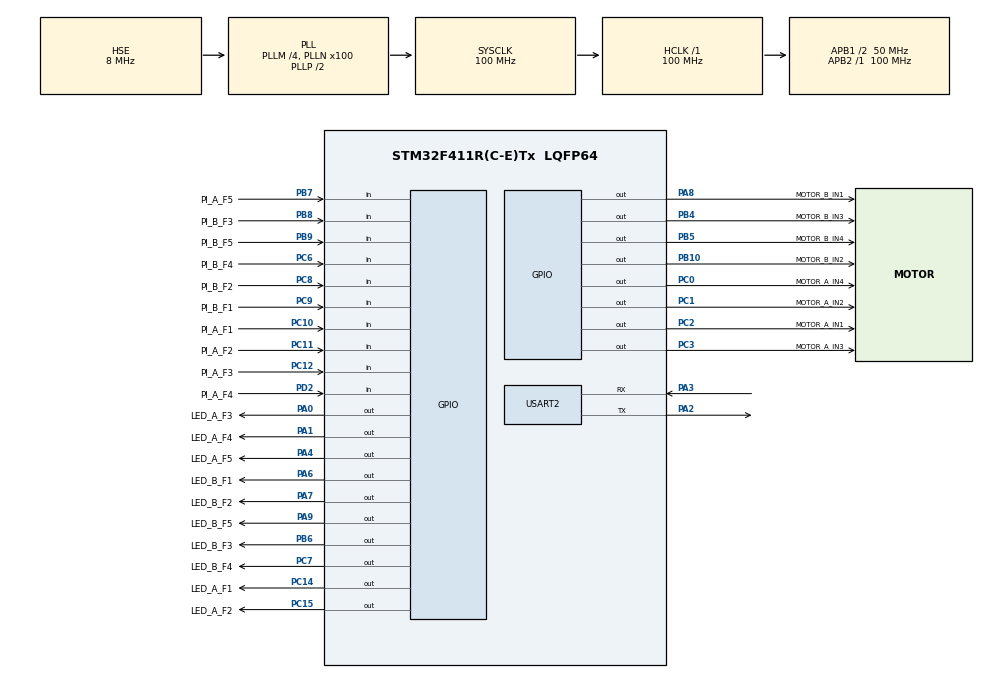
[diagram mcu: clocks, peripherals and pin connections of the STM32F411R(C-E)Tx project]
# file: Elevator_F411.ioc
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Mcu.Family=STM32F4
Mcu.Name=STM32F411R(C-E)Tx
Mcu.Package=LQFP64
NVIC.PriorityGroup=NVIC_PRIORITYGROUP_4
PA0-WKUP.GPIO_Label=LED_A_F3
PA0-WKUP.Signal=GPIO_Output
PA1.GPIO_Label=LED_A_F4
PA1.Signal=GPIO_Output
PA13.Mode=Serial_Wire
PA13.Signal=SYS_JTMS-SWDIO
PA14.Mode=Serial_Wire
PA14.Signal=SYS_JTCK-SWCLK
PA2.Mode=Asynchronous
PA2.Signal=USART2_TX
PA3.Mode=Asynchronous
PA3.Signal=USART2_RX
PA4.GPIO_Label=LED_A_F5
PA4.Signal=GPIO_Output
PA6.GPIO_Label=LED_B_F1
PA6.Signal=GPIO_Output
PA7.GPIO_Label=LED_B_F2 
PA7.Signal=GPIO_Output
PA8.GPIO_Label=MOTOR_B_IN1
PA8.Signal=GPIO_Output
PA9.GPIO_Label=LED_B_F5
PA9.Signal=GPIO_Output
PB10.GPIO_Label=MOTOR_B_IN2
PB10.Signal=GPIO_Output
PB4.GPIO_Label=MOTOR_B_IN3
PB4.Signal=GPIO_Output
PB5.GPIO_Label=MOTOR_B_IN4
PB5.Signal=GPIO_Output
PB6.GPIO_Label=LED_B_F3
PB6.Signal=GPIO_Output
PB7.GPIO_Label=PI_A_F5
PB7.GPIO_PuPd=GPIO_PULLDOWN
PB7.Signal=GPIO_Input
PB8.GPIO_Label=PI_B_F3
PB8.GPIO_PuPd=GPIO_PULLDOWN
PB8.Signal=GPIO_Input
PB9.GPIO_Label=PI_B_F5
PB9.GPIO_PuPd=GPIO_PULLDOWN
PB9.Signal=GPIO_Input
PC0.GPIO_Label=MOTOR_A_IN4
PC0.Signal=GPIO_Output
PC1.GPIO_Label=MOTOR_A_IN2
PC1.Signal=GPIO_Output
PC10.GPIO_Label=PI_A_F1
PC10.GPIO_PuPd=GPIO_PULLDOWN
PC10.Signal=GPIO_Input
PC11.GPIO_Label=PI_A_F2
PC11.GPIO_PuPd=GPIO_PULLDOWN
PC11.Signal=GPIO_Input
PC12.GPIO_Label=PI_A_F3
PC12.GPIO_PuPd=GPIO_PULLDOWN
PC12.Signal=GPIO_Input
PC14-OSC32_IN.GPIO_Label=LED_A_F1
PC14-OSC32_IN.Signal=GPIO_Output
PC15-OSC32_OUT.GPIO_Label=LED_A_F2
PC15-OSC32_OUT.Signal=GPIO_Output
PC2.GPIO_Label=MOTOR_A_IN1
PC2.Signal=GPIO_Output
PC3.GPIO_Label=MOTOR_A_IN3
PC3.Signal=GPIO_Output
PC6.GPIO_Label=PI_B_F4
PC6.GPIO_PuPd=GPIO_PULLDOWN
PC6.Signal=GPIO_Input
PC7.GPIO_Label=LED_B_F4
PC7.Signal=GPIO_Output
PC8.GPIO_Label=PI_B_F2
PC8.GPIO_PuPd=GPIO_PULLDOWN
PC8.Signal=GPIO_Input
PC9.GPIO_Label=PI_B_F1
PC9.GPIO_PuPd=GPIO_PULLDOWN
PC9.Signal=GPIO_Input
PD2.GPIO_Label=PI_A_F4
PD2.GPIO_PuPd=GPIO_PULLDOWN
PD2.Signal=GPIO_Input
PH0\ -\ OSC_IN.Mode=HSE-External-Clock-Source
PH0\ -\ OSC_IN.Signal=RCC_OSC_IN
PH1\ -\ OSC_OUT.Mode=HSE-External-Clock-Source
PH1\ -\ OSC_OUT.Signal=RCC_OSC_OUT
ProjectManager.HeapSize=0x200
ProjectManager.StackSize=0x400
ProjectManager.TargetToolchain=CMake
RCC.48MHZClocksFreq_Value=50000000
RCC.AHBFreq_Value=100000000
RCC.APB1CLKDivider=RCC_HCLK_DIV2
RCC.APB1Freq_Value=50000000
RCC.APB1TimFreq_Value=100000000
RCC.APB2Freq_Value=100000000
RCC.APB2TimFreq_Value=100000000
RCC.CortexFreq_Value=100000000
RCC.HCLKFreq_Value=100000000
RCC.HSE_VALUE=8000000
RCC.HSI_VALUE=16000000
RCC.LSE_VALUE=32768
RCC.PLLM=4
RCC.PLLN=100
RCC.PLLSourceVirtual=RCC_PLLSOURCE_HSE
RCC.SYSCLKFreq_VALUE=100000000
RCC.SYSCLKSource=RCC_SYSCLKSOURCE_PLLCLK
RCC.VCOOutputFreq_Value=200000000
USART2.VirtualMode=VM_ASYNC
board=custom

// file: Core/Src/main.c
/* USER CODE BEGIN Header */
/**
  ******************************************************************************
  * @file           : main.c
  * @brief          : Main program body
  ******************************************************************************
  * @attention
  *
  * Copyright (c) 2026 STMicroelectronics.
  * All rights reserved.
  *
  * This software is licensed under terms that can be found in the LICENSE file
  * in the root directory of this software component.
  * If no LICENSE file comes with this software, it is provided AS-IS.
  *
  ******************************************************************************
  */
/* USER CODE END Header */
#include "main.h"
#include "usart.h"
#include "gpio.h"

/* USER CODE BEGIN Includes */
#include "algorithm_a.h"
#include "algorithm_b.h"
#include "algorithm_c.h"
#include "algorithm_d.h"
#include <stdio.h>
#include <string.h>

#include "elevator_floor_sensor.h"
#include "elevator_led.h"
#include "elevator_motor.h"

/* USER CODE END Includes */

/* USER CODE BEGIN PD */
/* UART command line length, including the final null terminator. */
#define UART_COMMAND_BUFFER_SIZE  64U

/* Small helper for static scenario arrays. The project arrays are all below 255 items. */
#define ARRAY_COUNT(array)        ((uint8_t)(sizeof(array) / sizeof((array)[0])))

/* Temporary sensor-based auto-run values.
 * Max steps are only a safety limit; normal stopping is done by photo interrupters.
 */
#define SENSOR_RUN_MAX_STEPS_PER_FLOOR  25000U
#define SENSOR_HOME_MAX_STEPS_TO_F1     30000U
#define SENSOR_RUN_STEP_DELAY_US        1000U
#define SENSOR_RUN_STOP_DWELL_MS        1000U
#define SENSOR_ROUND_TRIP_DWELL_MS      10000U
#define SENSOR_ROUND_TRIP_MAX_STEPS     (SENSOR_RUN_MAX_STEPS_PER_FLOOR * 5U)
#define MOTOR_AB_TRAVEL_TEST_STEPS      61440U
#define AUTO_AB_B_START_DELAY_MS        30000U
#define MOTOR_B_F5_CLEAR_STEPS          10000U

/* USER CODE END PD */

/* USER CODE BEGIN PV */
/* Shared UART buffers used for command input and formatted status output. */
static char uart_tx_buffer[160];
static char uart_rx_buffer[UART_COMMAND_BUFFER_SIZE];
static uint8_t uart_rx_index = 0U;

/* Scenario selection changed by "set ab" and "set cd" UART commands. */
static uint8_t selected_ab_scenario = 1U;
static uint8_t selected_cd_scenario = 1U;

/* USER CODE END PV */

void SystemClock_Config(void);

/* USER CODE BEGIN 0 */
/* Send a null-terminated string over USART2. */
static void UartPrint(const char *message)
{
  (void)HAL_UART_Transmit(&huart2, (uint8_t *)message, (uint16_t)strlen(message), 100U);
}

/* Initial car positions for AB comparison.
 * A starts idle on 1F, and B starts idle on 4F.
 */
static const ElevatorState AbInitialElevators[ELEVATOR_CAR_COUNT] =
{
  { ELEVATOR_CAR_A, 1U, ELEVATOR_DIR_IDLE, 0U, { 0U } },
  { ELEVATOR_CAR_B, 4U, ELEVATOR_DIR_IDLE, 0U, { 0U } }
};

/* AB scenario 1 compares fixed odd/even zones against fixed low/high zones. */
static const ElevatorRequest AbScenario1[] =
{
  { 1U, ELEVATOR_DIR_UP, 3U, ELEVATOR_CAR_A },
  { 3U, ELEVATOR_DIR_UP, 5U, ELEVATOR_CAR_NONE },
  { 3U, ELEVATOR_DIR_DOWN, 1U, ELEVATOR_CAR_NONE }
};

/* Initial car positions for CD scenario 1.
 * A is already moving upward and has 3F and 5F reserved.
 * B is idle on 5F with no reserved stops.
 */
static const ElevatorState CdInitialElevators[ELEVATOR_CAR_COUNT] =
{
  { ELEVATOR_CAR_A, 2U, ELEVATOR_DIR_UP, 2U, { 3U, 5U } },
  { ELEVATOR_CAR_B, 5U, ELEVATOR_DIR_IDLE, 0U, { 0U } }
};

/* Initial car positions for CD scenario 2.
 * This setup is meant to show a case where algorithm D can prefer B because
 * A has several reserved stops and therefore a worse ETA.
 */
static const ElevatorState Cd2InitialElevators[ELEVATOR_CAR_COUNT] =
{
  { ELEVATOR_CAR_A, 1U, ELEVATOR_DIR_UP, 3U, { 2U, 3U, 5U } },
  { ELEVATOR_CAR_B, 5U, ELEVATOR_DIR_IDLE, 0U, { 0U } }
};

/* CD scenario 1: compare direction-priority dispatch with ETA dispatch. */
static const ElevatorRequest CdScenario1[] =
{
  { 4U, ELEVATOR_DIR_UP, 5U, ELEVATOR_CAR_NONE },
  { 1U, ELEVATOR_DIR_UP, 3U, ELEVATOR_CAR_NONE }
};

/* CD scenario 2: one 4F UP request used to make C and D choose differently. */
static const ElevatorRequest CdScenario2[] =
{
  { 4U, ELEVATOR_DIR_UP, 5U, ELEVATOR_CAR_NONE }
};

/* ETA timing used by algorithm D: 5 seconds per floor and 30 seconds dwell. */
static const ElevatorTiming CdTiming1 =
{
  5U,
  30U
};

/* Convert car enum values into short strings for UART output. */
static const char *CarName(ElevatorCarId car)
{
  if (car == ELEVATOR_CAR_A)
  {
    return "A";
  }

  if (car == ELEVATOR_CAR_B)
  {
    return "B";
  }

  return "NONE";
}

/* Convert direction enum values into short strings for UART output. */
static const char *DirectionName(ElevatorDirection direction)
{
  if (direction == ELEVATOR_DIR_UP)
  {
    return "UP";
  }

  if (direction == ELEVATOR_DIR_DOWN)
  {
    return "DOWN";
  }

  return "IDLE";
}

/* Copy a scenario's initial elevator state before running an algorithm.
 * This keeps repeated UART runs from modifying the original scenario data.
 */
static void CopyElevators(ElevatorState destination[ELEVATOR_CAR_COUNT],
                          const ElevatorState source[ELEVATOR_CAR_COUNT])
{
  uint8_t index;

  for (index = 0U; index < ELEVATOR_CAR_COUNT; index++)
  {
    destination[index] = source[index];
  }
}

/* Print every supported UART command. */
static void PrintHelp(void)
{
  UartPrint("\r\nCommands:\r\n");
  UartPrint("  run ab a  - run selected AB scenario with algorithm A\r\n");
  UartPrint("  run ab b  - run selected AB scenario with algorithm B\r\n");
  UartPrint("  run cd c  - run selected CD scenario with algorithm C\r\n");
  UartPrint("  run cd d  - run selected CD scenario with algorithm D\r\n");
  UartPrint("  set ab 1  - select AB scenario 1\r\n");
  UartPrint("  set cd 1  - select CD scenario 1\r\n");
  UartPrint("  set cd 2  - select CD scenario 2\r\n");
  UartPrint("  status    - print selected scenarios and floor sensors\r\n");
  UartPrint("  help      - print this command list\r\n\r\n");
}

/* Read photo interrupters and show the currently detected floor with LEDs.
 * A car LED is turned on only when exactly one floor sensor is active.
 */
static void UpdateFloorArrivalLeds(void)
{
  uint8_t floor_a = ElevatorFloorSensor_GetActiveFloor(ELEVATOR_CAR_A);
  uint8_t floor_b = ElevatorFloorSensor_GetActiveFloor(ELEVATOR_CAR_B);

  if (floor_a != 0U)
  {
    (void)ElevatorLed_ShowFloor(ELEVATOR_CAR_A, floor_a);
  }
  else
  {
    ElevatorLed_CarOff(ELEVATOR_CAR_A);
  }

  if (floor_b != 0U)
  {
    (void)ElevatorLed_ShowFloor(ELEVATOR_CAR_B, floor_b);
  }
  else
  {
    ElevatorLed_CarOff(ELEVATOR_CAR_B);
  }
}

/* Print raw sensor masks and decoded active floor for both cars. */
static void PrintFloorSensorState(void)
{
  uint16_t mask_a = ElevatorFloorSensor_ReadMask(ELEVATOR_CAR_A);
  uint16_t mask_b = ElevatorFloorSensor_ReadMask(ELEVATOR_CAR_B);
  uint16_t irq_mask_a = ElevatorFloorSensor_GetInterruptMask(ELEVATOR_CAR_A);
  uint16_t irq_mask_b = ElevatorFloorSensor_GetInterruptMask(ELEVATOR_CAR_B);
  uint32_t irq_count_a = ElevatorFloorSensor_GetInterruptCount(ELEVATOR_CAR_A);
  uint32_t irq_count_b = ElevatorFloorSensor_GetInterruptCount(ELEVATOR_CAR_B);
  uint8_t floor_a = ElevatorFloorSensor_GetActiveFloor(ELEVATOR_CAR_A);
  uint8_t floor_b = ElevatorFloorSensor_GetActiveFloor(ELEVATOR_CAR_B);

  (void)snprintf(uart_tx_buffer,
                 sizeof(uart_tx_buffer),
                 "PI A:F%u mask=0x%02X irq=0x%02X cnt=%lu B:F%u mask=0x%02X irq=0x%02X cnt=%lu\r\n",
                 (unsigned int)floor_a,
                 (unsigned int)mask_a,
                 (unsigned int)irq_mask_a,
                 (unsigned long)irq_count_a,
                 (unsigned int)floor_b,
                 (unsigned int)mask_b,
                 (unsigned int)irq_mask_b,
                 (unsigned long)irq_count_b);
  UartPrint(uart_tx_buffer);
}

/* Print the currently selected scenario numbers and live floor sensor state. */
static void PrintStatus(void)
{
  (void)snprintf(uart_tx_buffer,
                 sizeof(uart_tx_buffer),
                 "Selected scenarios: AB%u CD%u\r\n",
                 (unsigned int)selected_ab_scenario,
                 (unsigned int)selected_cd_scenario);
  UartPrint(uart_tx_buffer);
  PrintFloorSensorState();
}

/* Print one request assignment line after an algorithm finishes. */
static void PrintAssignmentLine(const char *group,
                                uint8_t scenario_number,
                                char algorithm,
                                uint8_t request_index,
                                const ElevatorRequest *request,
                                const ElevatorAssignment *assignment)
{
  (void)snprintf(uart_tx_buffer,
                 sizeof(uart_tx_buffer),
                 "%s%u alg %c req%u F%u->F%u %s reqCar=%s => %s %s %s\r\n",
                 group,
                 (unsigned int)scenario_number,
                 algorithm,
                 (unsigned int)(request_index + 1U),
                 (unsigned int)request->from_floor,
                 (unsigned int)request->target_floor,
                 DirectionName(request->direction),
                 CarName(request->requested_car),
                 assignment->accepted ? "OK" : "REJECT",
                 CarName(assignment->assigned_car),
                 assignment->reason);
  UartPrint(uart_tx_buffer);
}

/* Run the selected AB scenario with algorithm A or B.
 * This currently compares dispatch decisions over UART; motor movement is not
 * started from this function yet.
 */
static void RunAbScenario(char algorithm)
{
  ElevatorState elevators[ELEVATOR_CAR_COUNT];
  ElevatorAssignment assignments[ARRAY_COUNT(AbScenario1)];
  uint8_t index;

  if (selected_ab_scenario != 1U)
  {
    UartPrint("Only AB scenario 1 is available.\r\n");
    return;
  }

  CopyElevators(elevators, AbInitialElevators);

  if (algorithm == 'a')
  {
    ElevatorAlgorithmA_AssignBatch(elevators, AbScenario1, ARRAY_COUNT(AbScenario1), assignments);
  }
  else if (algorithm == 'b')
  {
    ElevatorAlgorithmB_AssignBatch(elevators, AbScenario1, ARRAY_COUNT(AbScenario1), assignments);
  }
  else
  {
    UartPrint("Use: run ab a or run ab b\r\n");
    return;
  }

  UartPrint("Running AB scenario...\r\n");

  for (index = 0U; index < ARRAY_COUNT(AbScenario1); index++)
  {
    PrintAssignmentLine("AB", selected_ab_scenario, algorithm, index, &AbScenario1[index], &assignments[index]);
  }
}

/* Run the selected CD scenario with algorithm C or D.
 * Scenario 1 and 2 share the same UART commands but have different initial
 * elevator states and request lists.
 */
static void RunCdScenario(char algorithm)
{
  ElevatorState elevators[ELEVATOR_CAR_COUNT];
  ElevatorAssignment assignments[ELEVATOR_MAX_STOPS];
  const ElevatorRequest *requests = CdScenario1;
  uint8_t request_count = ARRAY_COUNT(CdScenario1);
  uint8_t index;

  if (selected_cd_scenario == 1U)
  {
    CopyElevators(elevators, CdInitialElevators);
    requests = CdScenario1;
    request_count = ARRAY_COUNT(CdScenario1);
  }
  else if (selected_cd_scenario == 2U)
  {
    CopyElevators(elevators, Cd2InitialElevators);
    requests = CdScenario2;
    request_count = ARRAY_COUNT(CdScenario2);
  }
  else
  {
    UartPrint("Use: set cd 1 or set cd 2\r\n");
    return;
  }

  if (algorithm == 'c')
  {
    ElevatorAlgorithmC_AssignBatch(elevators, requests, request_count, assignments);
  }
  else if (algorithm == 'd')
  {
    ElevatorAlgorithmD_AssignBatch(elevators, requests, request_count, &CdTiming1, assignments);
  }
  else
  {
    UartPrint("Use: run cd c or run cd d\r\n");
    return;
  }

  UartPrint("Running CD scenario...\r\n");

  for (index = 0U; index < request_count; index++)
  {
    PrintAssignmentLine("CD", selected_cd_scenario, algorithm, index, &requests[index], &assignments[index]);
  }
}

/* Make command parsing case-insensitive for ASCII commands. */
static void ToLowerAscii(char *text)
{
  while (*text != '\0')
  {
    if ((*text >= 'A') && (*text <= 'Z'))
    {
      *text = (char)(*text + ('a' - 'A'));
    }

    text++;
  }
}

/* Split one command line into space/tab-separated tokens.
 * The input buffer is modified in place by replacing separators with '\0'.
 */
static uint8_t TokenizeCommand(char *command, char *tokens[], uint8_t max_tokens)
{
  uint8_t count = 0U;
  char *cursor = command;

  while ((*cursor != '\0') && (count < max_tokens))
  {
    while ((*cursor == ' ') || (*cursor == '\t'))
    {
      cursor++;
    }

    if (*cursor == '\0')
    {
      break;
    }

    tokens[count] = cursor;
    count++;

    while ((*cursor != '\0') && (*cursor != ' ') && (*cursor != '\t'))
    {
      cursor++;
    }

    if (*cursor != '\0')
    {
      *cursor = '\0';
      cursor++;
    }
  }

  return count;
}

/* Handle "set" commands that select which scenario number will be run next. */
static void ProcessSetCommand(char *tokens[], uint8_t token_count)
{
  if (token_count != 3U)
  {
    UartPrint("Use: set ab 1, set cd 1, or set cd 2\r\n");
    return;
  }

  if (strcmp(tokens[1], "ab") == 0)
  {
    if (strcmp(tokens[2], "1") != 0)
    {
      UartPrint("Only AB scenario 1 is available now.\r\n");
      return;
    }

    selected_ab_scenario = 1U;
    UartPrint("Selected AB scenario 1\r\n");
    return;
  }

  if (strcmp(tokens[1], "cd") == 0)
  {
    if (strcmp(tokens[2], "1") == 0)
    {
      selected_cd_scenario = 1U;
      UartPrint("Selected CD scenario 1\r\n");
      return;
    }

    if (strcmp(tokens[2], "2") == 0)
    {
      selected_cd_scenario = 2U;
      UartPrint("Selected CD scenario 2\r\n");
      return;
    }

    UartPrint("Use: set cd 1 or set cd 2\r\n");
    return;
  }

  UartPrint("Use: set ab 1, set cd 1, or set cd 2\r\n");
}

/* Handle "run" commands that choose a scenario group and algorithm letter. */
static void ProcessRunCommand(char *tokens[], uint8_t token_count)
{
  if (token_count != 3U)
  {
    UartPrint("Use: run ab a, run ab b, run cd c, or run cd d\r\n");
    return;
  }

  if (tokens[2][1] != '\0')
  {
    UartPrint("Algorithm must be one letter: a, b, c, or d\r\n");
    return;
  }

  if (strcmp(tokens[1], "ab") == 0)
  {
    RunAbScenario(tokens[2][0]);
    return;
  }

  if (strcmp(tokens[1], "cd") == 0)
  {
    RunCdScenario(tokens[2][0]);
    return;
  }

  UartPrint("Use scenario group ab or cd.\r\n");
}

/* Top-level UART command dispatcher. */
static void ProcessCommand(char *command)
{
  char *tokens[4];
  uint8_t token_count;

  ToLowerAscii(command);
  token_count = TokenizeCommand(command, tokens, ARRAY_COUNT(tokens));

  if (token_count == 0U)
  {
    return;
  }

  if (strcmp(tokens[0], "help") == 0)
  {
    PrintHelp();
    return;
  }

  if (strcmp(tokens[0], "status") == 0)
  {
    PrintStatus();
    return;
  }

  if (strcmp(tokens[0], "set") == 0)
  {
    ProcessSetCommand(tokens, token_count);
    return;
  }

  if (strcmp(tokens[0], "run") == 0)
  {
    ProcessRunCommand(tokens, token_count);
    return;
  }

  UartPrint("Unknown command. Type help.\r\n");
}

/* Poll USART2 without blocking the main loop.
 * A command is processed only after a line-feed '\n' is received.
 */
static void PollUartCommand(void)
{
  uint8_t rx_byte;

  while (HAL_UART_Receive(&huart2, &rx_byte, 1U, 0U) == HAL_OK)
  {
    if (rx_byte == '\r')
    {
      continue;
    }

    if (rx_byte == '\n')
    {
      uart_rx_buffer[uart_rx_index] = '\0';
      ProcessCommand(uart_rx_buffer);
      uart_rx_index = 0U;
      return;
    }

    if ((rx_byte == 0x08U) || (rx_byte == 0x7FU))
    {
      if (uart_rx_index > 0U)
      {
        uart_rx_index--;
      }

      continue;
    }

    if (uart_rx_index < (UART_COMMAND_BUFFER_SIZE - 1U))
    {
      uart_rx_buffer[uart_rx_index] = (char)rx_byte;
      uart_rx_index++;
    }
    else
    {
      uart_rx_index = 0U;
      UartPrint("Command too long. Type help.\r\n");
    }
  }
}

/* Move one car until the target floor photo interrupter is detected.
 * The max-step value is only a safety timeout in case wiring or alignment fails.
 */
static bool MoveCarToFloorBySensor(ElevatorCarId car, uint8_t *current_floor, uint8_t target_floor)
{
  ElevatorDirection direction;
  uint8_t floor_distance;
  uint32_t max_steps;
  ElevatorMotorStatus status;

  if ((current_floor == 0) ||
      !ElevatorFloorIsValid(*current_floor) ||
      !ElevatorFloorIsValid(target_floor))
  {
    return false;
  }

  if (*current_floor == target_floor)
  {
    (void)ElevatorLed_ShowFloor(car, *current_floor);
    HAL_Delay(SENSOR_RUN_STOP_DWELL_MS);
    return true;
  }

  direction = ElevatorDirectionBetween(*current_floor, target_floor);
  floor_distance = ElevatorFloorDistance(*current_floor, target_floor);
  max_steps = (uint32_t)floor_distance * SENSOR_RUN_MAX_STEPS_PER_FLOOR;

  ElevatorLed_CarOff(car);
  status = ElevatorMotor_MoveUntilFloorSensor(car,
                                              direction,
                                              target_floor,
                                              max_steps,
                                              SENSOR_RUN_STEP_DELAY_US);

  if (status == ELEVATOR_MOTOR_STATUS_TARGET_REACHED)
  {
    *current_floor = target_floor;
    (void)ElevatorLed_ShowFloor(car, *current_floor);
    HAL_Delay(SENSOR_RUN_STOP_DWELL_MS);
    return true;
  }

  ElevatorMotor_CarOff(car);
  ElevatorLed_CarOff(car);
  return false;
}

/* Move upward until the first-floor photo interrupter is reached.
 * This is used when the car starts below 1F, where no floor sensor is active yet.
 */
static bool HomeCarToFirstFloorBySensor(ElevatorCarId car)
{
  ElevatorMotorStatus status;

  if (ElevatorFloorSensor_IsArrived(car, 1U))
  {
    (void)ElevatorLed_ShowFloor(car, 1U);
    UartPrint("Home already at F1.\r\n");
    return true;
  }

  (void)snprintf(uart_tx_buffer,
                 sizeof(uart_tx_buffer),
                 "Home %s upward to F1...\r\n",
                 CarName(car));
  UartPrint(uart_tx_buffer);

  ElevatorLed_CarOff(car);
  status = ElevatorMotor_MoveUntilFloorSensor(car,
                                              ELEVATOR_DIR_UP,
                                              1U,
                                              SENSOR_HOME_MAX_STEPS_TO_F1,
                                              SENSOR_RUN_STEP_DELAY_US);

  if (status == ELEVATOR_MOTOR_STATUS_TARGET_REACHED)
  {
    (void)ElevatorLed_ShowFloor(car, 1U);
    UartPrint("Home reached F1.\r\n");
    PrintFloorSensorState();
    HAL_Delay(SENSOR_RUN_STOP_DWELL_MS);
    return true;
  }

  ElevatorMotor_CarOff(car);
  ElevatorLed_CarOff(car);
  (void)snprintf(uart_tx_buffer,
                 sizeof(uart_tx_buffer),
                 "Home failed status=%u.\r\n",
                 (unsigned int)status);
  UartPrint(uart_tx_buffer);
  PrintFloorSensorState();
  return false;
}

static void PrintCarReachedFloor(ElevatorCarId car, uint8_t floor)
{
  (void)snprintf(uart_tx_buffer,
                 sizeof(uart_tx_buffer),
                 "%s reached F%u.\r\n",
                 CarName(car),
                 (unsigned int)floor);
  UartPrint(uart_tx_buffer);
}

static bool MoveBothCarsUntilFloor(ElevatorDirection direction,
                                   uint8_t target_floor,
                                   uint32_t max_steps)
{
  bool reached[ELEVATOR_CAR_COUNT];
  uint32_t step_index;
  uint32_t next_report_step = 0U;

  reached[ELEVATOR_CAR_A] = ElevatorFloorSensor_IsArrived(ELEVATOR_CAR_A, target_floor);
  reached[ELEVATOR_CAR_B] = ElevatorFloorSensor_IsArrived(ELEVATOR_CAR_B, target_floor);

  if (reached[ELEVATOR_CAR_A])
  {
    PrintCarReachedFloor(ELEVATOR_CAR_A, target_floor);
  }

  if (reached[ELEVATOR_CAR_B])
  {
    PrintCarReachedFloor(ELEVATOR_CAR_B, target_floor);
  }

  for (step_index = 0U;
       (step_index < max_steps) && (!reached[ELEVATOR_CAR_A] || !reached[ELEVATOR_CAR_B]);
       step_index++)
  {
    if (!reached[ELEVATOR_CAR_A])
    {
      ElevatorMotor_Step(ELEVATOR_CAR_A, direction);
    }

    if (!reached[ELEVATOR_CAR_B])
    {
      ElevatorMotor_Step(ELEVATOR_CAR_B, direction);
    }

    HAL_Delay(SENSOR_RUN_STEP_DELAY_US / 1000U);

    if (!reached[ELEVATOR_CAR_A] &&
        ElevatorFloorSensor_IsBlocked(ELEVATOR_CAR_A, target_floor) &&
        ElevatorFloorSensor_IsArrived(ELEVATOR_CAR_A, target_floor))
    {
      ElevatorMotor_CarOff(ELEVATOR_CAR_A);
      reached[ELEVATOR_CAR_A] = true;
      PrintCarReachedFloor(ELEVATOR_CAR_A, target_floor);
      PrintFloorSensorState();
    }

    if (!reached[ELEVATOR_CAR_B] &&
        ElevatorFloorSensor_IsBlocked(ELEVATOR_CAR_B, target_floor) &&
        ElevatorFloorSensor_IsArrived(ELEVATOR_CAR_B, target_floor))
    {
      ElevatorMotor_CarOff(ELEVATOR_CAR_B);
      reached[ELEVATOR_CAR_B] = true;
      PrintCarReachedFloor(ELEVATOR_CAR_B, target_floor);
      PrintFloorSensorState();
    }

    if (step_index >= next_report_step)
    {
      next_report_step += 5000U;
      PrintFloorSensorState();
    }
  }

  ElevatorMotor_AllOff();

  if (!reached[ELEVATOR_CAR_A])
  {
    (void)snprintf(uart_tx_buffer,
                   sizeof(uart_tx_buffer),
                   "A failed to reach F%u.\r\n",
                   (unsigned int)target_floor);
    UartPrint(uart_tx_buffer);
  }

  if (!reached[ELEVATOR_CAR_B])
  {
    (void)snprintf(uart_tx_buffer,
                   sizeof(uart_tx_buffer),
                   "B failed to reach F%u.\r\n",
                   (unsigned int)target_floor);
    UartPrint(uart_tx_buffer);
  }

  PrintFloorSensorState();
  return reached[ELEVATOR_CAR_A] && reached[ELEVATOR_CAR_B];
}

static void AutoRunBothCarsFloorSensorRoundTrip(void)
{
  UartPrint("Auto AB floor sensor round-trip start.\r\n");
  UartPrint("Move A/B upward until F5 sensors.\r\n");

  if (!MoveBothCarsUntilFloor(ELEVATOR_DIR_UP, 5U, SENSOR_ROUND_TRIP_MAX_STEPS))
  {
    UartPrint("Round-trip aborted during upward move.\r\n");
    return;
  }

  UartPrint("Both cars reached F5. Dwell 10s.\r\n");
  HAL_Delay(SENSOR_ROUND_TRIP_DWELL_MS);
  UartPrint("Move A/B downward until F1 sensors.\r\n");

  if (!MoveBothCarsUntilFloor(ELEVATOR_DIR_DOWN, 1U, SENSOR_ROUND_TRIP_MAX_STEPS))
  {
    UartPrint("Round-trip aborted during downward move.\r\n");
    return;
  }

  UartPrint("Auto AB floor sensor round-trip done.\r\n");
}

/* Execute the stop list created by an algorithm for one elevator car. */
static void ExecuteCarStopsBySensor(ElevatorState *elevator)
{
  uint8_t active_floor;
  uint8_t stop_index;
  uint8_t current_floor;

  active_floor = ElevatorFloorSensor_GetActiveFloor(elevator->id);
  current_floor = (active_floor != 0U) ? active_floor : elevator->current_floor;

  if (ElevatorFloorIsValid(current_floor))
  {
    (void)ElevatorLed_ShowFloor(elevator->id, current_floor);
    HAL_Delay(SENSOR_RUN_STOP_DWELL_MS);
  }

  for (stop_index = 0U; stop_index < elevator->stop_count; stop_index++)
  {
    if (!MoveCarToFloorBySensor(elevator->id, &current_floor, elevator->stops[stop_index]))
    {
      break;
    }
  }

  elevator->current_floor = current_floor;
  elevator->direction = ELEVATOR_DIR_IDLE;
}

/* UART-free AB scenario 1 test using algorithm A.
 * The algorithm produces the stop list, then the motor moves by floor sensors.
 */
static void AutoRunAb1AlgorithmABySensor(void)
{
  ElevatorState elevators[ELEVATOR_CAR_COUNT];
  ElevatorAssignment assignments[ARRAY_COUNT(AbScenario1)];

  UartPrint("Auto AB1 algorithm A start.\r\n");

  if (!HomeCarToFirstFloorBySensor(ELEVATOR_CAR_A))
  {
    UartPrint("Auto AB1 algorithm A aborted.\r\n");
    return;
  }

  CopyElevators(elevators, AbInitialElevators);
  elevators[ELEVATOR_CAR_A].current_floor = 1U;
  ElevatorAlgorithmA_AssignBatch(elevators, AbScenario1, ARRAY_COUNT(AbScenario1), assignments);

  UartPrint("Auto AB1 algorithm A run stops.\r\n");
  ExecuteCarStopsBySensor(&elevators[ELEVATOR_CAR_A]);
  ExecuteCarStopsBySensor(&elevators[ELEVATOR_CAR_B]);
  UartPrint("Auto AB1 algorithm A done.\r\n");
  PrintFloorSensorState();
}

/* UART-free AB scenario 1 test using algorithm B.
 * The system waits 30 seconds before running so the start state can be checked.
 */
static void AutoRunAb1AlgorithmBBySensor(void)
{
  ElevatorState elevators[ELEVATOR_CAR_COUNT];
  ElevatorAssignment assignments[ARRAY_COUNT(AbScenario1)];
  uint8_t index;
  uint8_t active_floor_a;
  uint8_t active_floor_b;

  selected_ab_scenario = 1U;
  UartPrint("Selected AB scenario 1.\r\n");
  PrintFloorSensorState();

  UartPrint("Wait 30 seconds before algorithm B.\r\n");
  HAL_Delay(AUTO_AB_B_START_DELAY_MS);

  CopyElevators(elevators, AbInitialElevators);
  active_floor_a = ElevatorFloorSensor_GetActiveFloor(ELEVATOR_CAR_A);
  active_floor_b = ElevatorFloorSensor_GetActiveFloor(ELEVATOR_CAR_B);

  if (active_floor_a != 0U)
  {
    elevators[ELEVATOR_CAR_A].current_floor = active_floor_a;
  }

  if (active_floor_b != 0U)
  {
    elevators[ELEVATOR_CAR_B].current_floor = active_floor_b;
  }

  UartPrint("Auto AB1 algorithm B start.\r\n");
  ElevatorAlgorithmB_AssignBatch(elevators, AbScenario1, ARRAY_COUNT(AbScenario1), assignments);

  for (index = 0U; index < ARRAY_COUNT(AbScenario1); index++)
  {
    PrintAssignmentLine("AB", selected_ab_scenario, 'b', index, &AbScenario1[index], &assignments[index]);
  }

  ExecuteCarStopsBySensor(&elevators[ELEVATOR_CAR_A]);
  ExecuteCarStopsBySensor(&elevators[ELEVATOR_CAR_B]);
  UartPrint("Auto AB1 algorithm B done.\r\n");
  PrintFloorSensorState();
}

/* UART-free hardware test: move only car B upward until the 5F sensor is HIGH.
 * If B already starts on the 5F sensor, move down a little first so the rising
 * movement can prove that the 5F sensor stops the motor.
 */
static void AutoRunMotorBToF5SensorTest(void)
{
  ElevatorMotorStatus status;

  UartPrint("Motor B F5 sensor stop test start.\r\n");
  PrintFloorSensorState();

  if (ElevatorFloorSensor_IsArrived(ELEVATOR_CAR_B, 5U))
  {
    UartPrint("B F5 is already active. Move B down first.\r\n");
    ElevatorMotor_MoveStepsUs(ELEVATOR_CAR_B,
                              ELEVATOR_DIR_DOWN,
                              MOTOR_B_F5_CLEAR_STEPS,
                              SENSOR_RUN_STEP_DELAY_US);
    ElevatorMotor_CarOff(ELEVATOR_CAR_B);
    PrintFloorSensorState();
    HAL_Delay(SENSOR_RUN_STOP_DWELL_MS);
  }

  UartPrint("Move B upward until F5 sensor is active.\r\n");
  ElevatorLed_CarOff(ELEVATOR_CAR_B);
  status = ElevatorMotor_MoveUntilFloorSensor(ELEVATOR_CAR_B,
                                              ELEVATOR_DIR_UP,
                                              5U,
                                              SENSOR_ROUND_TRIP_MAX_STEPS,
                                              SENSOR_RUN_STEP_DELAY_US);

  if (status == ELEVATOR_MOTOR_STATUS_TARGET_REACHED)
  {
    (void)ElevatorLed_ShowFloor(ELEVATOR_CAR_B, 5U);
    UartPrint("Motor B stopped at F5 sensor.\r\n");
  }
  else
  {
    ElevatorLed_CarOff(ELEVATOR_CAR_B);
    (void)snprintf(uart_tx_buffer,
                   sizeof(uart_tx_buffer),
                   "Motor B F5 test failed status=%u.\r\n",
                   (unsigned int)status);
    UartPrint(uart_tx_buffer);
  }

  ElevatorMotor_CarOff(ELEVATOR_CAR_B);
  PrintFloorSensorState();
}

/* UART-free hardware test: move only car B downward until the 1F sensor is HIGH.
 * During the descent, print every B sensor-mask change so F5/F4/F3/F2/F1 can be checked.
 */
static void AutoRunMotorBDownToF1TraceTest(void)
{
  uint32_t step_index;
  uint32_t next_report_step = 0U;
  uint16_t current_mask;
  uint16_t previous_mask;
  uint16_t seen_mask = 0U;
  bool reached_f1 = false;

  UartPrint("Motor B down-to-F1 sensor trace start.\r\n");
  PrintFloorSensorState();

  previous_mask = ElevatorFloorSensor_ReadMask(ELEVATOR_CAR_B);
  seen_mask |= previous_mask;

  (void)snprintf(uart_tx_buffer,
                 sizeof(uart_tx_buffer),
                 "B initial mask=0x%02X\r\n",
                 (unsigned int)previous_mask);
  UartPrint(uart_tx_buffer);

  if (ElevatorFloorSensor_IsArrived(ELEVATOR_CAR_B, 1U))
  {
    (void)ElevatorLed_ShowFloor(ELEVATOR_CAR_B, 1U);
    UartPrint("B already at F1 sensor.\r\n");
    PrintFloorSensorState();
    return;
  }

  ElevatorLed_CarOff(ELEVATOR_CAR_B);

  for (step_index = 0U; step_index < SENSOR_ROUND_TRIP_MAX_STEPS; step_index++)
  {
    ElevatorMotor_Step(ELEVATOR_CAR_B, ELEVATOR_DIR_DOWN);
    HAL_Delay(SENSOR_RUN_STEP_DELAY_US / 1000U);

    current_mask = ElevatorFloorSensor_ReadMask(ELEVATOR_CAR_B);
    seen_mask |= current_mask;

    if (current_mask != previous_mask)
    {
      (void)snprintf(uart_tx_buffer,
                     sizeof(uart_tx_buffer),
                     "B step=%lu mask=0x%02X\r\n",
                     (unsigned long)step_index,
                     (unsigned int)current_mask);
      UartPrint(uart_tx_buffer);
      previous_mask = current_mask;
    }

    if ((current_mask & 0x01U) != 0U)
    {
      if (ElevatorFloorSensor_IsArrived(ELEVATOR_CAR_B, 1U))
      {
        reached_f1 = true;
        break;
      }
    }

    if (step_index >= next_report_step)
    {
      next_report_step += 5000U;
      (void)snprintf(uart_tx_buffer,
                     sizeof(uart_tx_buffer),
                     "B progress step=%lu mask=0x%02X seen=0x%02X\r\n",
                     (unsigned long)step_index,
                     (unsigned int)current_mask,
                     (unsigned int)seen_mask);
      UartPrint(uart_tx_buffer);
    }
  }

  ElevatorMotor_CarOff(ELEVATOR_CAR_B);

  if (reached_f1)
  {
    (void)ElevatorLed_ShowFloor(ELEVATOR_CAR_B, 1U);
    UartPrint("Motor B stopped at F1 sensor.\r\n");
  }
  else
  {
    ElevatorLed_CarOff(ELEVATOR_CAR_B);
    UartPrint("Motor B did not reach F1 before max steps.\r\n");
  }

  (void)snprintf(uart_tx_buffer,
                 sizeof(uart_tx_buffer),
                 "B seen mask during descent=0x%02X\r\n",
                 (unsigned int)seen_mask);
  UartPrint(uart_tx_buffer);
  PrintFloorSensorState();
}

/* Move one car in one direction while tracing every floor-sensor mask change.
 * The motor stops when the target floor sensor stays HIGH through debounce.
 */
static bool TraceCarUntilFloorSensor(ElevatorCarId car,
                                     ElevatorDirection direction,
                                     uint8_t target_floor,
                                     const char *phase_name)
{
  uint32_t step_index;
  uint32_t next_report_step = 0U;
  uint16_t current_mask;
  uint16_t previous_mask;
  uint16_t seen_mask = 0U;
  uint16_t target_mask = (uint16_t)(1U << (target_floor - 1U));
  bool reached_target = false;

  (void)snprintf(uart_tx_buffer,
                 sizeof(uart_tx_buffer),
                 "%s %s to F%u trace start.\r\n",
                 CarName(car),
                 phase_name,
                 (unsigned int)target_floor);
  UartPrint(uart_tx_buffer);
  PrintFloorSensorState();

  previous_mask = ElevatorFloorSensor_ReadMask(car);
  seen_mask |= previous_mask;

  (void)snprintf(uart_tx_buffer,
                 sizeof(uart_tx_buffer),
                 "%s initial mask=0x%02X\r\n",
                 CarName(car),
                 (unsigned int)previous_mask);
  UartPrint(uart_tx_buffer);

  if (ElevatorFloorSensor_IsArrived(car, target_floor))
  {
    (void)ElevatorLed_ShowFloor(car, target_floor);
    (void)snprintf(uart_tx_buffer,
                   sizeof(uart_tx_buffer),
                   "%s already at F%u sensor.\r\n",
                   CarName(car),
                   (unsigned int)target_floor);
    UartPrint(uart_tx_buffer);
    PrintFloorSensorState();
    return true;
  }

  ElevatorLed_CarOff(car);

  for (step_index = 0U; step_index < SENSOR_ROUND_TRIP_MAX_STEPS; step_index++)
  {
    ElevatorMotor_Step(car, direction);
    HAL_Delay(SENSOR_RUN_STEP_DELAY_US / 1000U);

    current_mask = ElevatorFloorSensor_ReadMask(car);
    seen_mask |= current_mask;

    if (current_mask != previous_mask)
    {
      (void)snprintf(uart_tx_buffer,
                     sizeof(uart_tx_buffer),
                     "%s %s step=%lu mask=0x%02X\r\n",
                     CarName(car),
                     phase_name,
                     (unsigned long)step_index,
                     (unsigned int)current_mask);
      UartPrint(uart_tx_buffer);
      previous_mask = current_mask;
    }

    if ((current_mask & target_mask) != 0U)
    {
      if (ElevatorFloorSensor_IsArrived(car, target_floor))
      {
        reached_target = true;
        break;
      }
    }

    if (step_index >= next_report_step)
    {
      next_report_step += 5000U;
      (void)snprintf(uart_tx_buffer,
                     sizeof(uart_tx_buffer),
                     "%s %s progress step=%lu mask=0x%02X seen=0x%02X\r\n",
                     CarName(car),
                     phase_name,
                     (unsigned long)step_index,
                     (unsigned int)current_mask,
                     (unsigned int)seen_mask);
      UartPrint(uart_tx_buffer);
    }
  }

  ElevatorMotor_CarOff(car);

  if (reached_target)
  {
    (void)ElevatorLed_ShowFloor(car, target_floor);
    (void)snprintf(uart_tx_buffer,
                   sizeof(uart_tx_buffer),
                   "%s stopped at F%u sensor.\r\n",
                   CarName(car),
                   (unsigned int)target_floor);
    UartPrint(uart_tx_buffer);
  }
  else
  {
    ElevatorLed_CarOff(car);
    (void)snprintf(uart_tx_buffer,
                   sizeof(uart_tx_buffer),
                   "%s did not reach F%u before max steps.\r\n",
                   CarName(car),
                   (unsigned int)target_floor);
    UartPrint(uart_tx_buffer);
  }

  (void)snprintf(uart_tx_buffer,
                 sizeof(uart_tx_buffer),
                 "%s %s seen mask=0x%02X\r\n",
                 CarName(car),
                 phase_name,
                 (unsigned int)seen_mask);
  UartPrint(uart_tx_buffer);
  PrintFloorSensorState();

  return reached_target;
}

/* UART-free hardware test: car A starts near 5F, descends to 1F while tracing
 * all sensors, then ascends back to 5F while tracing sensors again.
 */
static void AutoRunMotorADownUpTraceTest(void)
{
  UartPrint("Motor A down-up sensor trace start.\r\n");

  if (!TraceCarUntilFloorSensor(ELEVATOR_CAR_A, ELEVATOR_DIR_DOWN, 1U, "DOWN"))
  {
    UartPrint("Motor A down-up trace aborted during DOWN phase.\r\n");
    return;
  }

  HAL_Delay(SENSOR_RUN_STOP_DWELL_MS);

  if (!TraceCarUntilFloorSensor(ELEVATOR_CAR_A, ELEVATOR_DIR_UP, 5U, "UP"))
  {
    UartPrint("Motor A down-up trace aborted during UP phase.\r\n");
    return;
  }

  UartPrint("Motor A down-up sensor trace done.\r\n");
}

/* UART-free hardware test: car A starts near 1F and ascends to 5F while tracing
 * every floor-sensor mask change. The motor stops when the 5F sensor is HIGH.
 */
static void AutoRunMotorAUpToF5TraceTest(void)
{
  UartPrint("Motor A up-to-F5 sensor trace start.\r\n");

  if (!TraceCarUntilFloorSensor(ELEVATOR_CAR_A, ELEVATOR_DIR_UP, 5U, "UP"))
  {
    UartPrint("Motor A up-to-F5 trace failed before F5.\r\n");
    return;
  }

  UartPrint("Motor A up-to-F5 sensor trace done.\r\n");
}

/* UART-free hardware test: car A starts above/near 5F and descends to 1F while
 * tracing every floor-sensor mask change. The motor stops when the 1F sensor is HIGH.
 */
static void AutoRunMotorADownToF1TraceTest(void)
{
  UartPrint("Motor A down-to-F1 sensor trace start.\r\n");

  if (!TraceCarUntilFloorSensor(ELEVATOR_CAR_A, ELEVATOR_DIR_DOWN, 1U, "DOWN"))
  {
    UartPrint("Motor A down-to-F1 trace failed before F1.\r\n");
    return;
  }

  UartPrint("Motor A down-to-F1 sensor trace done.\r\n");
}

/* USER CODE END 0 */

int main(void)
{

  /* MCU Configuration--------------------------------------------------------*/

  /* Reset of all peripherals, Initializes the Flash interface and the Systick. */
  HAL_Init();

  /* Configure the system clock */
  SystemClock_Config();

  /* Initialize all configured peripherals */
  MX_GPIO_Init();
  MX_USART2_UART_Init();
  /* USER CODE BEGIN 2 */
  /* Project hardware startup.
   * - Photo interrupter inputs are initialized by ElevatorFloorSensor_Init().
   * - LEDs start off and then follow active floor sensors in the main loop.
   * - UART starts in command mode so scenarios can be selected without editing code.
   */
  ElevatorFloorSensor_Init();
  ElevatorLed_AllOff();
  UartPrint("Elevator UART command mode ready.\r\n");
  PrintHelp();

  /* Temporary UART-free motor A downward sensor trace test.
   * Disable this call again when returning to command-based scenario control.
   */
  AutoRunMotorADownToF1TraceTest();
  if (0)
  {
    UpdateFloorArrivalLeds();
    AutoRunBothCarsFloorSensorRoundTrip();
    AutoRunAb1AlgorithmABySensor();
  }

  /* Manual motor test block.
   * Keep disabled during normal scenario comparison.
   * Example: move motor B upward by a fixed number of half-steps, then release coils.
   */
  /*
  ElevatorMotor_MoveStepsUs(ELEVATOR_CAR_B, ELEVATOR_DIR_UP, 40960U, 1000U);
  ElevatorMotor_CarOff(ELEVATOR_CAR_B);
  */

  /* USER CODE END 2 */

  /* Infinite loop */
  while (1)
  {

    /* USER CODE BEGIN 3 */
    /* Motor-only test mode: do not read floor sensors automatically. */
    PollUartCommand();

    HAL_Delay(10U);
  }
  /* USER CODE END 3 */
}

void SystemClock_Config(void)
{
  RCC_OscInitTypeDef RCC_OscInitStruct = {0};
  RCC_ClkInitTypeDef RCC_ClkInitStruct = {0};

  /** Configure the main internal regulator output voltage
  */
  __HAL_RCC_PWR_CLK_ENABLE();
  __HAL_PWR_VOLTAGESCALING_CONFIG(PWR_REGULATOR_VOLTAGE_SCALE1);

  /** Initializes the RCC Oscillators according to the specified parameters
  * in the RCC_OscInitTypeDef structure.
  */
  RCC_OscInitStruct.OscillatorType = RCC_OSCILLATORTYPE_HSE;
  RCC_OscInitStruct.HSEState = RCC_HSE_BYPASS;
  RCC_OscInitStruct.PLL.PLLState = RCC_PLL_ON;
  RCC_OscInitStruct.PLL.PLLSource = RCC_PLLSOURCE_HSE;
  RCC_OscInitStruct.PLL.PLLM = 4;
  RCC_OscInitStruct.PLL.PLLN = 100;
  RCC_OscInitStruct.PLL.PLLP = RCC_PLLP_DIV2;
  RCC_OscInitStruct.PLL.PLLQ = 4;
  if (HAL_RCC_OscConfig(&RCC_OscInitStruct) != HAL_OK)
  {
    Error_Handler();
  }

  /** Initializes the CPU, AHB and APB buses clocks
  */
  RCC_ClkInitStruct.ClockType = RCC_CLOCKTYPE_HCLK|RCC_CLOCKTYPE_SYSCLK
                              |RCC_CLOCKTYPE_PCLK1|RCC_CLOCKTYPE_PCLK2;
  RCC_ClkInitStruct.SYSCLKSource = RCC_SYSCLKSOURCE_PLLCLK;
  RCC_ClkInitStruct.AHBCLKDivider = RCC_SYSCLK_DIV1;
  RCC_ClkInitStruct.APB1CLKDivider = RCC_HCLK_DIV2;
  RCC_ClkInitStruct.APB2CLKDivider = RCC_HCLK_DIV1;

  if (HAL_RCC_ClockConfig(&RCC_ClkInitStruct, FLASH_LATENCY_3) != HAL_OK)
  {
    Error_Handler();
  }
}

void Error_Handler(void)
{
  __disable_irq();
  while (1)
  {
  }
}
